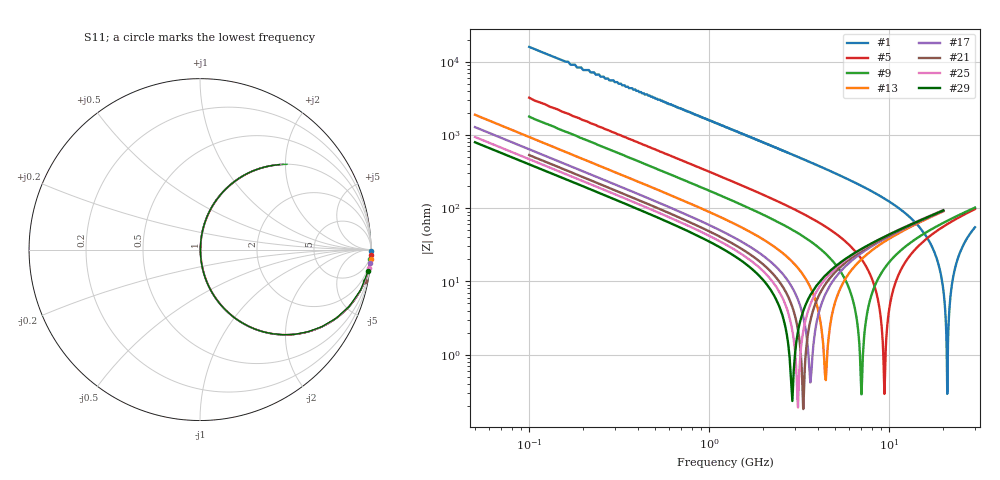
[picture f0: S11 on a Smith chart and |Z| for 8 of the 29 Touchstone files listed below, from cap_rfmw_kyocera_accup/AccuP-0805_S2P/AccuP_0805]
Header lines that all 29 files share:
! AVX Thin Film Operation		Date: April 2012
! Description: Accu-P® Series, Thin Film, SMD, RF Capacitor
!	Serial	Measurements
#	MHZ	S	MA	R	50
!	S11	S21	S12	S22
!	dB	Phase	dB	Phase	dB	Phase	dB	Phase
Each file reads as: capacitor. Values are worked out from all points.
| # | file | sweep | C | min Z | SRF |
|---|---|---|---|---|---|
| 1 | C0805SE0r1.s2p | 100 MHz to 30 GHz | 100 fF | 291 mohm | 21.04 GHz |
| 2 | C0805SE0r2.s2p | 100 MHz to 30 GHz | 200 fF | 291 mohm | 14.89 GHz |
| 3 | C0805SE0r3.s2p | 100 MHz to 30 GHz | 300 fF | 291 mohm | 12.15 GHz |
| 4 | C0805SE0r4.s2p | 100 MHz to 30 GHz | 400 fF | 290 mohm | 10.53 GHz |
| 5 | C0805SE0r5.s2p | 100 MHz to 30 GHz | 500 fF | 290 mohm | 9.414 GHz |
| 6 | C0805SE0r6.s2p | 100 MHz to 30 GHz | 600 fF | 290 mohm | 8.594 GHz |
| 7 | C0805SE0r7.s2p | 100 MHz to 30 GHz | 700 fF | 286 mohm | 7.957 GHz |
| 8 | C0805SE0r8.s2p | 100 MHz to 30 GHz | 800 fF | 287 mohm | 7.443 GHz |
| 9 | C0805SE0r9.s2p | 100 MHz to 30 GHz | 899 fF | 286 mohm | 7.017 GHz |
| 10 | C0805SE1r1.s2p | 50 MHz to 20 GHz | 1.1 pF | 527 mohm | 5.513 GHz |
| 11 | C0805SE1r3.s2p | 50 MHz to 20 GHz | 1.3 pF | 539 mohm | 5.071 GHz |
| 12 | C0805SE1r6.s2p | 50 MHz to 20 GHz | 1.6 pF | 471 mohm | 4.571 GHz |
| 13 | C0805SE1r7.s2p | 50 MHz to 20 GHz | 1.7 pF | 449 mohm | 4.435 GHz |
| 14 | C0805SE1r9.s2p | 50 MHz to 20 GHz | 1.9 pF | 427 mohm | 4.195 GHz |
| 15 | C0805SE2r1.s2p | 50 MHz to 20 GHz | 2.1 pF | 433 mohm | 3.99 GHz |
| 16 | C0805SE2r3.s2p | 50 MHz to 20 GHz | 2.3 pF | 430 mohm | 3.813 GHz |
| 17 | C0805SE2r5.s2p | 50 MHz to 20 GHz | 2.5 pF | 417 mohm | 3.657 GHz |
| 18 | C0805SE2r6.s2p | 50 MHz to 20 GHz | 2.6 pF | 432 mohm | 3.586 GHz |
| 19 | C0805SE2r8.s2p | 50 MHz to 20 GHz | 2.8 pF | 414 mohm | 3.456 GHz |
| 20 | C0805SE2r9.s2p | 50 MHz to 20 GHz | 2.9 pF | 413 mohm | 3.395 GHz |
| 21 | C0805SE3r0.s2p | 100 MHz to 20 GHz | 3 pF | 180 mohm | 3.333 GHz |
| 22 | C0805SE3r1.s2p | 50 MHz to 20 GHz | 3.1 pF | 339 mohm | 3.284 GHz |
| 23 | C0805SE3r2.s2p | 50 MHz to 20 GHz | 3.2 pF | 347 mohm | 3.232 GHz |
| 24 | C0805SE3r3.s2p | 50 MHz to 20 GHz | 3.3 pF | 191 mohm | 3.136 GHz |
| 25 | C0805SE3r4.s2p | 50 MHz to 20 GHz | 3.4 pF | 190 mohm | 3.111 GHz |
| 26 | C0805SE3r5.s2p | 50 MHz to 20 GHz | 3.5 pF | 303 mohm | 3.091 GHz |
| 27 | C0805SE3r7.s2p | 50 MHz to 20 GHz | 3.7 pF | 284 mohm | 3.006 GHz |
| 28 | C0805SE3r8.s2p | 50 MHz to 20 GHz | 3.8 pF | 318 mohm | 2.966 GHz |
| 29 | C0805SE4r0.s2p | 50 MHz to 20 GHz | 4 pF | 233 mohm | 2.891 GHz |
